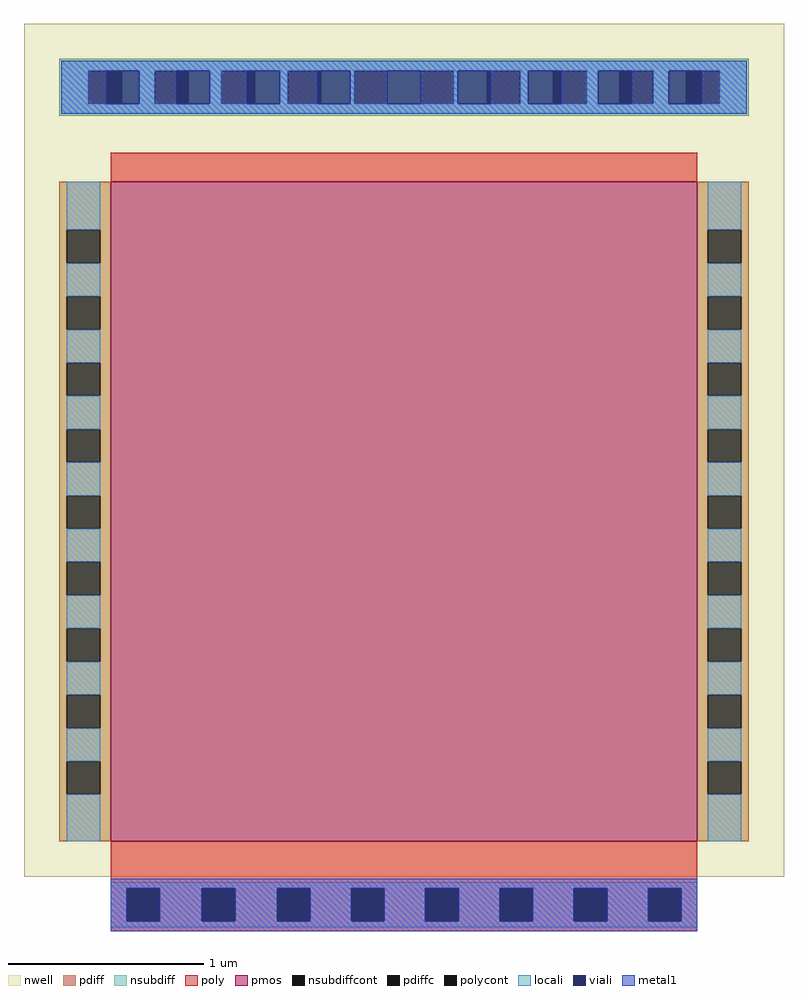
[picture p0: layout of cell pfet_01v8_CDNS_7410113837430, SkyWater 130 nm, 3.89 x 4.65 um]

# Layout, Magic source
magic
tech sky130A
magscale 1 2
<< nwell >>
rect -89 -36 689 837
<< pmos >>
rect 0 0 600 675
<< pdiff >>
rect -53 626 0 675
rect -53 592 -45 626
rect -11 592 0 626
rect -53 558 0 592
rect -53 524 -45 558
rect -11 524 0 558
rect -53 490 0 524
rect -53 456 -45 490
rect -11 456 0 490
rect -53 422 0 456
rect -53 388 -45 422
rect -11 388 0 422
rect -53 354 0 388
rect -53 320 -45 354
rect -11 320 0 354
rect -53 286 0 320
rect -53 252 -45 286
rect -11 252 0 286
rect -53 218 0 252
rect -53 184 -45 218
rect -11 184 0 218
rect -53 150 0 184
rect -53 116 -45 150
rect -11 116 0 150
rect -53 82 0 116
rect -53 48 -45 82
rect -11 48 0 82
rect -53 0 0 48
rect 600 626 653 675
rect 600 592 611 626
rect 645 592 653 626
rect 600 558 653 592
rect 600 524 611 558
rect 645 524 653 558
rect 600 490 653 524
rect 600 456 611 490
rect 645 456 653 490
rect 600 422 653 456
rect 600 388 611 422
rect 645 388 653 422
rect 600 354 653 388
rect 600 320 611 354
rect 645 320 653 354
rect 600 286 653 320
rect 600 252 611 286
rect 645 252 653 286
rect 600 218 653 252
rect 600 184 611 218
rect 645 184 653 218
rect 600 150 653 184
rect 600 116 611 150
rect 645 116 653 150
rect 600 82 653 116
rect 600 48 611 82
rect 645 48 653 82
rect 600 0 653 48
<< pdiffc >>
rect -45 592 -11 626
rect -45 524 -11 558
rect -45 456 -11 490
rect -45 388 -11 422
rect -45 320 -11 354
rect -45 252 -11 286
rect -45 184 -11 218
rect -45 116 -11 150
rect -45 48 -11 82
rect 611 592 645 626
rect 611 524 645 558
rect 611 456 645 490
rect 611 388 645 422
rect 611 320 645 354
rect 611 252 645 286
rect 611 184 645 218
rect 611 116 645 150
rect 611 48 645 82
<< nsubdiff >>
rect -53 789 653 801
rect -53 755 -23 789
rect 11 755 45 789
rect 79 755 113 789
rect 147 755 181 789
rect 215 755 249 789
rect 283 755 317 789
rect 351 755 385 789
rect 419 755 453 789
rect 487 755 521 789
rect 555 755 589 789
rect 623 755 653 789
rect -53 743 653 755
<< nsubdiffcont >>
rect -23 755 11 789
rect 45 755 79 789
rect 113 755 147 789
rect 181 755 215 789
rect 249 755 283 789
rect 317 755 351 789
rect 385 755 419 789
rect 453 755 487 789
rect 521 755 555 789
rect 589 755 623 789
<< poly >>
rect 0 675 600 705
rect 0 -48 600 0
rect 0 -82 16 -48
rect 50 -82 93 -48
rect 127 -82 170 -48
rect 204 -82 246 -48
rect 280 -82 322 -48
rect 356 -82 398 -48
rect 432 -82 474 -48
rect 508 -82 550 -48
rect 584 -82 600 -48
rect 0 -92 600 -82
<< polycont >>
rect 16 -82 50 -48
rect 93 -82 127 -48
rect 170 -82 204 -48
rect 246 -82 280 -48
rect 322 -82 356 -48
rect 398 -82 432 -48
rect 474 -82 508 -48
rect 550 -82 584 -48
<< locali >>
rect -51 789 651 799
rect -51 755 -23 789
rect 29 755 45 789
rect 101 755 113 789
rect 173 755 181 789
rect 245 755 249 789
rect 351 755 355 789
rect 419 755 427 789
rect 487 755 499 789
rect 555 755 571 789
rect 623 755 651 789
rect -51 745 651 755
rect -45 626 -11 675
rect -45 558 -11 592
rect -45 490 -11 524
rect -45 422 -11 456
rect -45 354 -11 388
rect -45 286 -11 320
rect -45 218 -11 252
rect -45 150 -11 184
rect -45 82 -11 116
rect -45 0 -11 48
rect 611 626 645 675
rect 611 558 645 592
rect 611 490 645 524
rect 611 422 645 456
rect 611 354 645 388
rect 611 286 645 320
rect 611 218 645 252
rect 611 150 645 184
rect 611 82 645 116
rect 611 0 645 48
rect 0 -48 600 -42
rect 0 -82 16 -48
rect 50 -82 93 -48
rect 127 -82 170 -48
rect 204 -82 246 -48
rect 280 -82 322 -48
rect 356 -82 398 -48
rect 432 -82 474 -48
rect 508 -82 550 -48
rect 584 -82 600 -48
rect 0 -88 600 -82
<< viali >>
rect -5 755 11 789
rect 11 755 29 789
rect 67 755 79 789
rect 79 755 101 789
rect 139 755 147 789
rect 147 755 173 789
rect 211 755 215 789
rect 215 755 245 789
rect 283 755 317 789
rect 355 755 385 789
rect 385 755 389 789
rect 427 755 453 789
rect 453 755 461 789
rect 499 755 521 789
rect 521 755 533 789
rect 571 755 589 789
rect 589 755 605 789
rect 16 -82 50 -48
rect 93 -82 127 -48
rect 170 -82 204 -48
rect 246 -82 280 -48
rect 322 -82 356 -48
rect 398 -82 432 -48
rect 474 -82 508 -48
rect 550 -82 584 -48
<< metal1 >>
rect -51 789 651 799
rect -51 755 -5 789
rect 29 755 67 789
rect 101 755 139 789
rect 173 755 211 789
rect 245 755 283 789
rect 317 755 355 789
rect 389 755 427 789
rect 461 755 499 789
rect 533 755 571 789
rect 605 755 651 789
rect -51 745 651 755
rect 0 -48 600 -38
rect 0 -82 16 -48
rect 50 -82 93 -48
rect 127 -82 170 -48
rect 204 -82 246 -48
rect 280 -82 322 -48
rect 356 -82 398 -48
rect 432 -82 474 -48
rect 508 -82 550 -48
rect 584 -82 600 -48
rect 0 -92 600 -82
<< end >>
